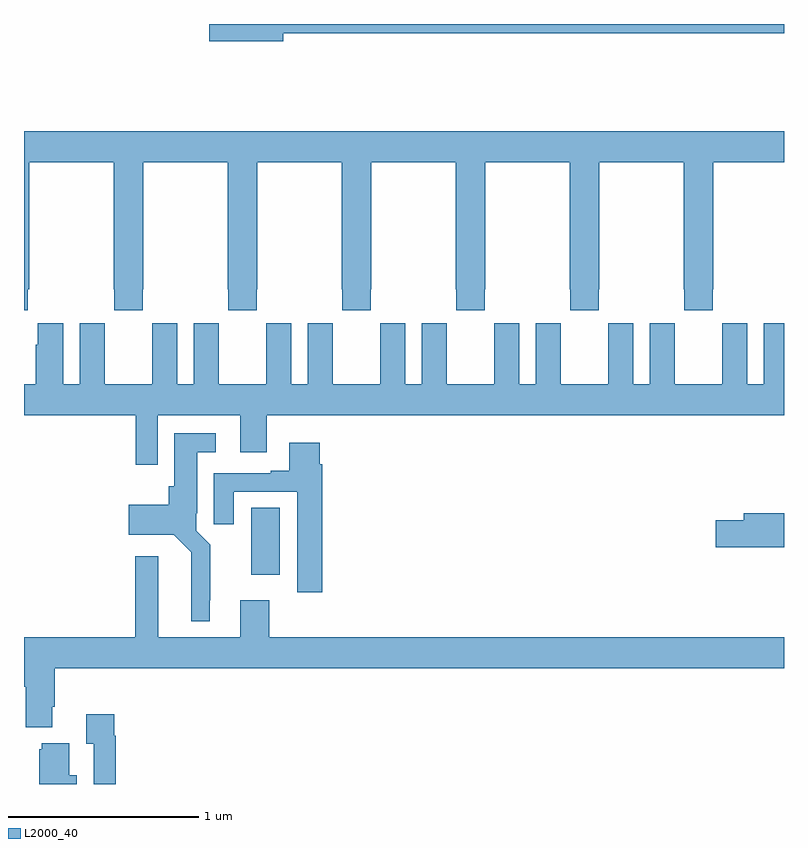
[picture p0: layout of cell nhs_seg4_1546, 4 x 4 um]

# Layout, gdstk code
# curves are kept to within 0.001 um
import gdstk
lib = gdstk.Library(unit=1e-6, precision=1e-09)
def R(c, l, rs):  # rectangles x0, y0, x1, y1
    for r in rs: c.add(gdstk.rectangle(r[:2], r[2:], *l))
def P(c, l, *ps):  # polygons
    for p in ps: c.add(gdstk.Polygon(p, *l))
L2000_40 = (2000, 40)

nhs_seg4_1546 = lib.new_cell('nhs_seg4_1546')
R(nhs_seg4_1546, L2000_40, [(192.197,776.001,192.346,776.354)])
P(nhs_seg4_1546, L2000_40, [(192.364,778.852),(195,778.852),(195,778.9),(191.976,778.9),(191.976,778.81),(192.364,778.81)],
  [(191,777.393),(191.021,777.393),(191.021,777.505),(191.028,777.505),(191.028,778.172),(191.473,778.172),(191.473,777.505),(191.475,777.505),(191.475,777.393),(191.625,777.393),(191.625,777.505),(191.628,777.505),(191.628,778.172),(192.073,778.172),(192.073,777.505),(192.075,777.505),(192.075,777.393),(192.225,777.393),(192.225,777.505),(192.228,777.505),(192.228,778.172),(192.673,778.172),(192.673,777.505),(192.675,777.505),(192.675,777.393),(192.825,777.393),(192.825,777.505),(192.828,777.505),(192.828,778.172),(193.273,778.172),(193.273,777.505),(193.275,777.505),(193.275,777.393),(193.425,777.393),(193.425,777.505),(193.428,777.505),(193.428,778.172),(193.873,778.172),(193.873,777.505),(193.875,777.505),(193.875,777.393),(194.025,777.393),(194.025,777.505),(194.028,777.505),(194.028,778.172),(194.473,778.172),(194.473,777.505),(194.475,777.505),(194.475,777.393),(194.625,777.393),(194.625,777.505),(194.628,777.505),(194.628,778.172),(195,778.172),(195,778.336),(191,778.336)],
  [(191.894,777.325),(191.894,777.004),(191.806,777.004),(191.806,777.325),(191.676,777.325),(191.676,777.212),(191.675,777.212),(191.675,777.004),(191.425,777.004),(191.425,777.212),(191.424,777.212),(191.424,777.325),(191.294,777.325),(191.294,777.004),(191.206,777.004),(191.206,777.325),(191.072,777.325),(191.072,777.212),(191.063,777.212),(191.063,777.004),(191,777.004),(191,776.84),(191.587,776.84),(191.587,776.58),(191.703,776.58),(191.703,776.84),(192.137,776.84),(192.137,776.646),(192.277,776.646),(192.277,776.84),(195,776.84),(195,777.325),(194.894,777.325),(194.894,777.004),(194.806,777.004),(194.806,777.325),(194.676,777.325),(194.676,777.212),(194.675,777.212),(194.675,777.004),(194.425,777.004),(194.425,777.212),(194.424,777.212),(194.424,777.325),(194.294,777.325),(194.294,777.004),(194.206,777.004),(194.206,777.325),(194.076,777.325),(194.076,777.212),(194.075,777.212),(194.075,777.004),(193.825,777.004),(193.825,777.212),(193.824,777.212),(193.824,777.325),(193.694,777.325),(193.694,777.004),(193.606,777.004),(193.606,777.325),(193.476,777.325),(193.476,777.212),(193.475,777.212),(193.475,777.004),(193.225,777.004),(193.225,777.212),(193.224,777.212),(193.224,777.325),(193.094,777.325),(193.094,777.004),(193.006,777.004),(193.006,777.325),(192.876,777.325),(192.876,777.212),(192.875,777.212),(192.875,777.004),(192.625,777.004),(192.625,777.212),(192.624,777.212),(192.624,777.325),(192.494,777.325),(192.494,777.004),(192.406,777.004),(192.406,777.325),(192.276,777.325),(192.276,777.212),(192.275,777.212),(192.275,777.004),(192.025,777.004),(192.025,777.212),(192.024,777.212),(192.024,777.325)],
  [(191.977,775.867),(191.981,775.867),(191.981,776.158),(191.907,776.232),(191.907,776.326),(191.911,776.326),(191.911,776.645),(192.01,776.645),(192.01,776.746),(191.792,776.746),(191.792,776.466),(191.762,776.466),(191.762,776.371),(191.55,776.371),(191.55,776.213),(191.787,776.213),(191.88,776.12),(191.879,775.757),(191.977,775.757)],
  [(192.569,776.582),(192.556,776.582),(192.556,776.695),(192.395,776.695),(192.395,776.548),(192.299,776.548),(192.299,776.535),(191.999,776.535),(191.999,776.268),(192.103,776.268),(192.103,776.439),(192.437,776.439),(192.437,775.908),(192.569,775.908)],
  [(195,776.324),(194.789,776.324),(194.789,776.288),(194.64,776.288),(194.64,776.146),(195,776.146)],
  [(195,775.672),(192.29,775.672),(192.29,775.867),(192.137,775.867),(192.137,775.672),(191.707,775.672),(191.707,776.098),(191.585,776.098),(191.585,775.672),(191,775.672),(191,775.412),(191.009,775.412),(191.009,775.199),(191.149,775.199),(191.149,775.306),(191.162,775.306),(191.162,775.508),(195,775.508)],
  [(191.483,775.154),(191.476,775.154),(191.476,775.267),(191.327,775.267),(191.327,775.111),(191.367,775.111),(191.367,774.9),(191.483,774.9)],
  [(191.278,774.946),(191.239,774.946),(191.239,775.114),(191.093,775.114),(191.093,775.083),(191.081,775.083),(191.081,774.9),(191.278,774.9)])

lib.write_gds('nhs_seg4_1546.gds')
